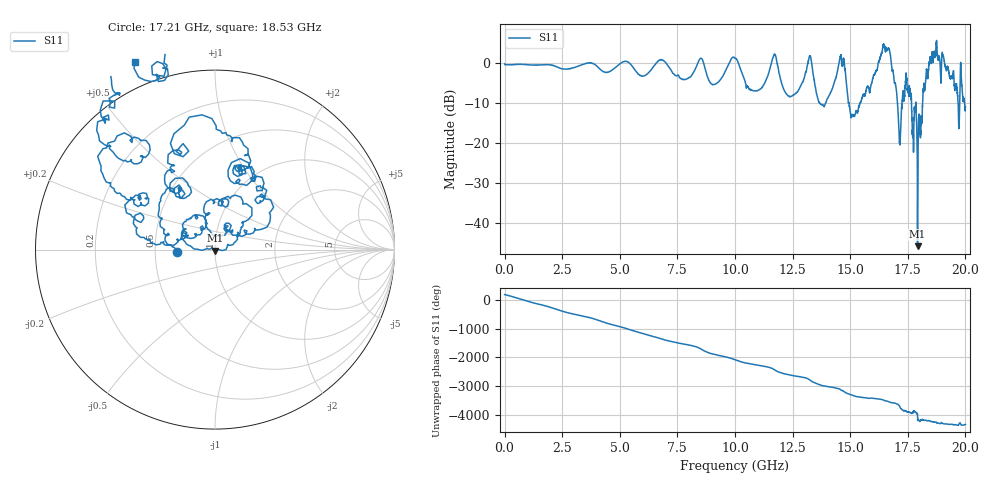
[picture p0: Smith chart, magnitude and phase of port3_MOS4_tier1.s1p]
! Created with skrf 1.8.0 (http://scikit-rf.org).
# GHz S RI R 50.0
!freq ReS11 ImS11
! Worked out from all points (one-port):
!   10000 points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, 3 MHz to 20 GHz, reference 50 ohm
!   lowest |S11| = -45.7 dB at 17.92 GHz (marker M1), VSWR 1.01, Z = 49.9 - j0.516 ohm
!   |S11| at or under -10 dB: 13.68 GHz to 13.93 GHz (252 MHz wide, 1.83 % of centre); 14.95 GHz to 15.42 GHz (476.5 MHz wide, 3.14 % of centre); 17.85 GHz to 18.14 GHz (297.7 MHz wide, 1.65 % of centre) (the widest 3 of 9)
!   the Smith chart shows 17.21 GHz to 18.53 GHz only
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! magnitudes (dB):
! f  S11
! 3 MHz  -0.2
! 2.503 GHz  -1.4
! 5.003 GHz  -0.2
! 6.017 GHz  -3.3
! 6.815 GHz  0.9
! 7.503 GHz  -3.1
! 8.527 GHz  1.2
! 9.115 GHz  -5.3
! 10 GHz  1.2
! 10.88 GHz  -7.0
! 11.72 GHz  2.2
! 12.13 GHz  -6.8
! 12.5 GHz  -8.1
! 13.25 GHz  1.8
! 13.61 GHz  -9.2
! 13.86 GHz  -10.8
! 14.63 GHz  -0.1
! 15 GHz  -12.3
! 15.26 GHz  -12.0
! 16.48 GHz  4.3
! 16.76 GHz  1.4
! 17.14 GHz  -19.9
! 17.5 GHz  -6.5
! 17.92 GHz  -45.7
! 18.01 GHz  -13.3
! 18.25 GHz  -5.6
! 18.7 GHz  1.6
! 20 GHz  -10.9
